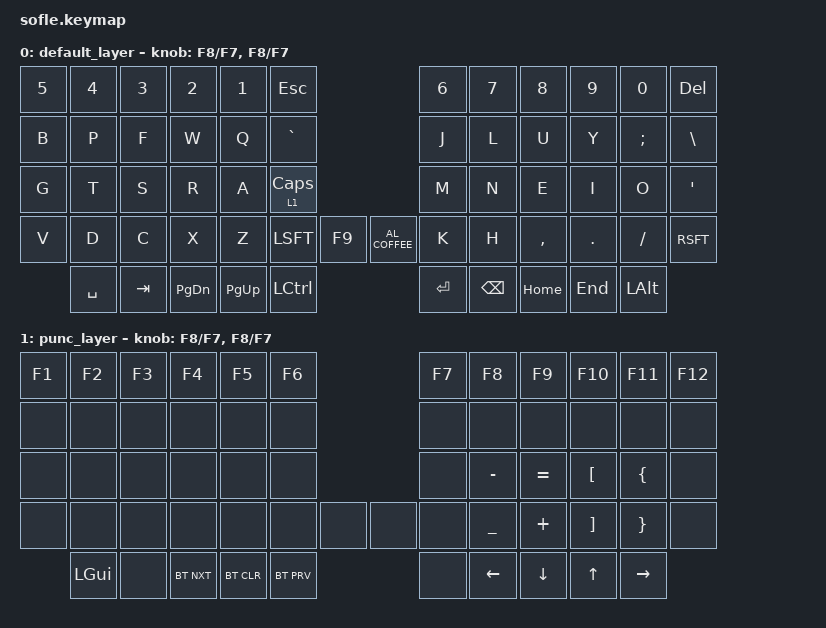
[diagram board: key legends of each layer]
/*
 * Copyright (c) 2020 The ZMK Contributors
 *
 * SPDX-License-Identifier: MIT
 */

#include <behaviors.dtsi>
#include <dt-bindings/zmk/keys.h>
#include <dt-bindings/zmk/bt.h>

#define DEFAULT 0
#define PUNC 1

// DEFAULT
// ------------------------------------------------------------------------------------------------------------
// |  ESC  |  1  |  2  |  3   |  4   |  5   |                   |  6   |  7    |  8    |  9   |   0   |  DEL  |
// |  GRV  |  Q  |  W  |  F   |  P   |  B   |                   |  J   |  L    |  U    |  Y   |   ;   |   \   |
// | CAP/LT|  A  |  R  |  S   |  T   |  G   |                   |  M   |  N    |  E    |  I   |   O   |   '   |
// | SHIFT |  Z  |  X  |  C   |  D   |  V   |  MUTE  |  |       |  K   |  H    |  ,    |  .   |   /   | SHIFT |
//               | CTRL| PGUP | PGDN |  TAB |  SPACE |  | ENTER | BSPC | HOME  | END   | ALT  |

// PUNC
// ------------------------------------------------------------------------------------------------------------
// |  F1   |  F2 |  F3  |  F4  |  F5  |  F6  |                   |  F7  |  F8   |  F9   |  F10 |  F11  |  F12  |
// |       |     |      |      |      |      |                   |      |       |       |      |       |       |
// |       |     |      |      |      |      |                   |      |  -    |  =    |  [   |   {   |       |
// | SHIFT |  Z  |  X   |  C   |  D   |  V   |        |  |       |      |  _    |  +    |  ]   |   }   |       |
//               |BT_PRV|BT_CLR|BT_NXT|      | LGUI   |  |       | Left | Down  | Up    | Right|

/ {
    keymap {
        compatible = "zmk,keymap";

        default_layer {
            bindings = <
                &kp N5    &kp N4    &kp N3    &kp N2     &kp N1    &kp ESC                           &kp N6      &kp N7      &kp N8      &kp N9      &kp N0      &kp DEL
                &kp B     &kp P     &kp F     &kp W      &kp Q     &kp GRAV                          &kp J       &kp L       &kp U       &kp Y       &kp SCLN    &kp BSLH
                &kp G     &kp T     &kp S     &kp R      &kp A     &lt 1 CAPS                        &kp M       &kp N       &kp E       &kp I       &kp O       &kp SQT
                &kp V     &kp D     &kp C     &kp X      &kp Z     &kp LSFT  &kp F9  &kp C_AL_COFFEE &kp K       &kp H       &kp CMMA    &kp DOT     &kp FSLH    &kp RSFT
                          &kp SPC   &kp TAB   &kp PG_DN  &kp PG_UP &kp LCTRL                         &kp RET     &kp BSPC    &kp HOME    &kp END     &kp LALT
            >;

            sensor-bindings = <&inc_dec_kp F8 F7 &inc_dec_kp F8 F7>;
        };

        punc_layer {
            bindings = <
                &kp F1    &kp F2    &kp F3    &kp F4     &kp F5     &kp F6                   &kp F7    &kp F8    &kp F9    &kp F10   &kp F11   &kp F12
                &none     &none     &none     &none      &none      &none                    &none     &none     &none     &none     &none     &none
                &none     &none     &none     &none      &none      &none                    &none     &kp MINUS &kp EQUAL &kp LBKT  &kp LBRC  &none
                &none     &none     &none     &none      &none      &none    &none   &none   &none     &kp UNDER &kp PLUS  &kp RBKT  &kp RBRC  &none
                          &kp LGUI  &none     &bt BT_NXT &bt BT_CLR &bt BT_PRV               &none     &kp LEFT  &kp DOWN  &kp UP    &kp RIGHT
            >;

            sensor-bindings = <&inc_dec_kp F8 F7 &inc_dec_kp F8 F7>;
        };
    };
};
